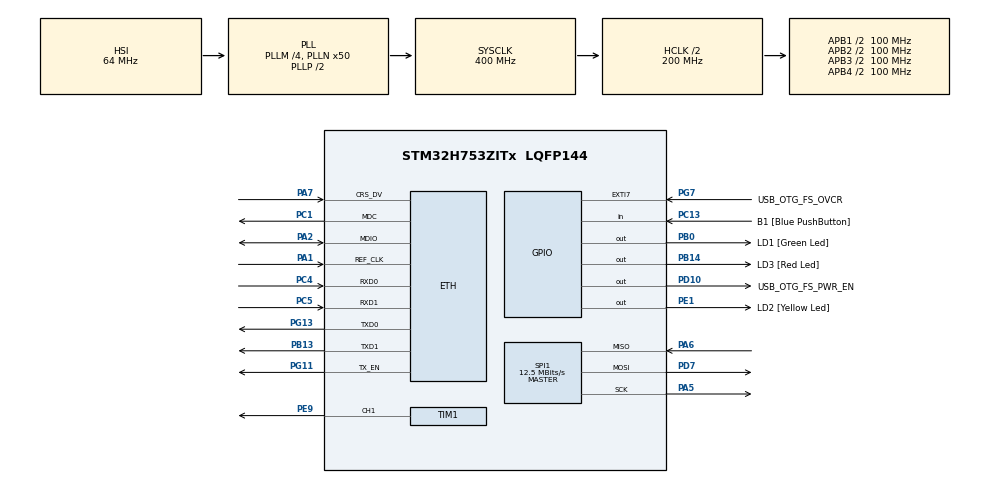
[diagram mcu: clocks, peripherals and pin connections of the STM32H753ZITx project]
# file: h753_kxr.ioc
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CORTEX_M7.AccessPermission-Cortex_Memory_Protection_Unit_Region1_Settings=MPU_REGION_FULL_ACCESS
CORTEX_M7.AccessPermission-Cortex_Memory_Protection_Unit_Region2_Settings=MPU_REGION_FULL_ACCESS
CORTEX_M7.BaseAddress-Cortex_Memory_Protection_Unit_Region1_Settings=0x30020000
CORTEX_M7.BaseAddress-Cortex_Memory_Protection_Unit_Region2_Settings=0x30000000
CORTEX_M7.CPU_DCache=Enabled
CORTEX_M7.CPU_ICache=Enabled
CORTEX_M7.DisableExec-Cortex_Memory_Protection_Unit_Region0_Settings=MPU_INSTRUCTION_ACCESS_DISABLE
CORTEX_M7.DisableExec-Cortex_Memory_Protection_Unit_Region1_Settings=MPU_INSTRUCTION_ACCESS_DISABLE
CORTEX_M7.DisableExec-Cortex_Memory_Protection_Unit_Region2_Settings=MPU_INSTRUCTION_ACCESS_DISABLE
CORTEX_M7.Enable-Cortex_Memory_Protection_Unit_Region0_Settings=MPU_REGION_ENABLE
CORTEX_M7.Enable-Cortex_Memory_Protection_Unit_Region1_Settings=MPU_REGION_ENABLE
CORTEX_M7.Enable-Cortex_Memory_Protection_Unit_Region2_Settings=MPU_REGION_ENABLE
CORTEX_M7.IsBufferable-Cortex_Memory_Protection_Unit_Region2_Settings=MPU_ACCESS_BUFFERABLE
CORTEX_M7.IsCacheable-Cortex_Memory_Protection_Unit_Region2_Settings=MPU_ACCESS_NOT_CACHEABLE
CORTEX_M7.IsShareable-Cortex_Memory_Protection_Unit_Region0_Settings=MPU_ACCESS_SHAREABLE
CORTEX_M7.IsShareable-Cortex_Memory_Protection_Unit_Region2_Settings=MPU_ACCESS_SHAREABLE
CORTEX_M7.MPU_Control=MPU_PRIVILEGED_DEFAULT
CORTEX_M7.Size-Cortex_Memory_Protection_Unit_Region0_Settings=MPU_REGION_SIZE_4GB
CORTEX_M7.Size-Cortex_Memory_Protection_Unit_Region1_Settings=MPU_REGION_SIZE_128KB
CORTEX_M7.Size-Cortex_Memory_Protection_Unit_Region2_Settings=MPU_REGION_SIZE_256B
CORTEX_M7.SubRegionDisable-Cortex_Memory_Protection_Unit_Region0_Settings=0x87
CORTEX_M7.TypeExtField-Cortex_Memory_Protection_Unit_Region1_Settings=MPU_TEX_LEVEL1
Dma.Request0=SPI1_RX
Dma.Request1=SPI1_TX
Dma.SPI1_RX.0.Direction=DMA_PERIPH_TO_MEMORY
Dma.SPI1_RX.0.EventEnable=DISABLE
Dma.SPI1_RX.0.FIFOMode=DMA_FIFOMODE_DISABLE
Dma.SPI1_RX.0.Instance=DMA1_Stream0
Dma.SPI1_RX.0.MemDataAlignment=DMA_MDATAALIGN_BYTE
Dma.SPI1_RX.0.MemInc=DMA_MINC_ENABLE
Dma.SPI1_RX.0.Mode=DMA_CIRCULAR
Dma.SPI1_RX.0.PeriphDataAlignment=DMA_PDATAALIGN_BYTE
Dma.SPI1_RX.0.PeriphInc=DMA_PINC_DISABLE
Dma.SPI1_RX.0.Polarity=HAL_DMAMUX_REQ_GEN_RISING
Dma.SPI1_RX.0.Priority=DMA_PRIORITY_HIGH
Dma.SPI1_RX.0.RequestNumber=1
Dma.SPI1_RX.0.SignalID=NONE
Dma.SPI1_RX.0.SyncEnable=DISABLE
Dma.SPI1_RX.0.SyncPolarity=HAL_DMAMUX_SYNC_NO_EVENT
Dma.SPI1_RX.0.SyncRequestNumber=1
Dma.SPI1_RX.0.SyncSignalID=NONE
Dma.SPI1_TX.1.Direction=DMA_MEMORY_TO_PERIPH
Dma.SPI1_TX.1.EventEnable=DISABLE
Dma.SPI1_TX.1.FIFOMode=DMA_FIFOMODE_DISABLE
Dma.SPI1_TX.1.Instance=DMA1_Stream1
Dma.SPI1_TX.1.MemDataAlignment=DMA_MDATAALIGN_BYTE
Dma.SPI1_TX.1.MemInc=DMA_MINC_ENABLE
Dma.SPI1_TX.1.Mode=DMA_CIRCULAR
Dma.SPI1_TX.1.PeriphDataAlignment=DMA_PDATAALIGN_BYTE
Dma.SPI1_TX.1.PeriphInc=DMA_PINC_DISABLE
Dma.SPI1_TX.1.Polarity=HAL_DMAMUX_REQ_GEN_RISING
Dma.SPI1_TX.1.Priority=DMA_PRIORITY_LOW
Dma.SPI1_TX.1.RequestNumber=1
Dma.SPI1_TX.1.SignalID=NONE
Dma.SPI1_TX.1.SyncEnable=DISABLE
Dma.SPI1_TX.1.SyncPolarity=HAL_DMAMUX_SYNC_NO_EVENT
Dma.SPI1_TX.1.SyncRequestNumber=1
Dma.SPI1_TX.1.SyncSignalID=NONE
ETH.ETH_RX_DESC_CNT=4
ETH.ETH_TX_DESC_CNT=4
ETH.MediaInterface=HAL_ETH_RMII_MODE
ETH.RxDescAddress=0x30000000
ETH.TxDescAddress=0x30000080
FREERTOS.Tasks01=defaultTask,0,512,StartDefaultTask,Default,NULL,Dynamic,NULL,NULL
LWIP.BSP.number=1
LWIP.GATEWAY_ADDRESS=192.168.001.254
LWIP.IP_ADDRESS=192.168.001.010
LWIP.LWIP_DHCP=0
LWIP.LWIP_RAM_HEAP_POINTER=0x30020000
LWIP.MEM_SIZE=131048
LWIP.NETMASK_ADDRESS=255.255.255.000
LWIP.TCP_MSS=1460
LWIP.TCP_SND_BUF=5840
LWIP.TCP_SND_QUEUELEN=16
LWIP.Version=v2.1.2_Cube
LWIP0.BSP.STBoard=false
LWIP0.BSP.api=BSP_COMPONENT_DRIVER
LWIP0.BSP.component=LAN8742
LWIP0.BSP.instance=LAN8742
LWIP0.BSP.name=Driver_PHY
LWIP0.BSP.semaphore=S_LAN8742
LWIP0.BSP.solution=LAN8742
Mcu.Family=STM32H7
Mcu.Name=STM32H753ZITx
Mcu.Package=LQFP144
NVIC.DMA1_Stream0_IRQn=true\:5\:0\:false\:false\:true\:true\:false\:true\:true
NVIC.DMA1_Stream1_IRQn=true\:5\:0\:false\:false\:true\:true\:false\:true\:true
NVIC.ETH_IRQn=true\:5\:0\:false\:false\:true\:true\:true\:true\:true
NVIC.PriorityGroup=NVIC_PRIORITYGROUP_4
NVIC.SPI1_IRQn=true\:5\:0\:false\:false\:true\:true\:false\:true\:true
NVIC.TIM6_DAC_IRQn=true\:15\:0\:false\:false\:true\:false\:false\:true\:true
NVIC.TimeBase=TIM6_DAC_IRQn
NVIC.TimeBaseIP=TIM6
PA1.GPIO_Speed=GPIO_SPEED_FREQ_VERY_HIGH
PA1.Mode=RMII
PA1.Signal=ETH_REF_CLK
PA11.Signal=USB_OTG_FS_DM
PA12.Signal=USB_OTG_FS_DP
PA2.GPIO_Speed=GPIO_SPEED_FREQ_VERY_HIGH
PA2.Mode=RMII
PA2.Signal=ETH_MDIO
PA5.GPIO_Speed=GPIO_SPEED_FREQ_VERY_HIGH
PA5.Mode=Full_Duplex_Master
PA5.Signal=SPI1_SCK
PA6.GPIO_Speed=GPIO_SPEED_FREQ_VERY_HIGH
PA6.Mode=Full_Duplex_Master
PA6.Signal=SPI1_MISO
PA7.GPIO_Speed=GPIO_SPEED_FREQ_VERY_HIGH
PA7.Mode=RMII
PA7.Signal=ETH_CRS_DV
PA8.Signal=USB_OTG_FS_SOF
PA9.Signal=USB_OTG_FS_VBUS
PB0.GPIO_Label=LD1 [Green Led]
PB0.Signal=GPIO_Output
PB13.GPIO_Speed=GPIO_SPEED_FREQ_VERY_HIGH
PB13.Mode=RMII
PB13.Signal=ETH_TXD1
PB14.GPIO_Label=LD3 [Red Led]
PB14.Signal=GPIO_Output
PC1.GPIO_Speed=GPIO_SPEED_FREQ_VERY_HIGH
PC1.Mode=RMII
PC1.Signal=ETH_MDC
PC13.GPIO_Label=B1 [Blue PushButton]
PC13.Signal=GPIO_Input
PC14-OSC32_IN\ (OSC32_IN).Signal=RCC_OSC32_IN
PC15-OSC32_OUT\ (OSC32_OUT).Signal=RCC_OSC32_OUT
PC4.GPIO_Speed=GPIO_SPEED_FREQ_VERY_HIGH
PC4.Mode=RMII
PC4.Signal=ETH_RXD0
PC5.GPIO_Speed=GPIO_SPEED_FREQ_VERY_HIGH
PC5.Mode=RMII
PC5.Signal=ETH_RXD1
PD10.GPIO_Label=USB_OTG_FS_PWR_EN
PD10.Signal=GPIO_Output
PD7.GPIO_Speed=GPIO_SPEED_FREQ_VERY_HIGH
PD7.Mode=Full_Duplex_Master
PD7.Signal=SPI1_MOSI
PD8.GPIO_Label=STLINK_RX
PD8.Signal=USART3_TX
PD9.GPIO_Label=STLINK_TX
PD9.Signal=USART3_RX
PE1.GPIO_Label=LD2 [Yellow Led]
PE1.Signal=GPIO_Output
PE9.GPIO_Speed=GPIO_SPEED_FREQ_VERY_HIGH
PE9.Signal=S_TIM1_CH1
PG11.GPIO_Speed=GPIO_SPEED_FREQ_VERY_HIGH
PG11.Mode=RMII
PG11.Signal=ETH_TX_EN
PG13.GPIO_Speed=GPIO_SPEED_FREQ_VERY_HIGH
PG13.Mode=RMII
PG13.Signal=ETH_TXD0
PG7.GPIO_Label=USB_OTG_FS_OVCR
PG7.Signal=GPXTI7
PH0-OSC_IN\ (PH0).Mode=HSE-External-Clock-Source
PH0-OSC_IN\ (PH0).Signal=RCC_OSC_IN
PH1-OSC_OUT\ (PH1).Signal=RCC_OSC_OUT
ProjectManager.HeapSize=0x200
ProjectManager.StackSize=0x400
ProjectManager.TargetToolchain=STM32CubeIDE
RCC.ADCFreq_Value=129000000
RCC.APB1Freq_Value=100000000
RCC.APB2Freq_Value=100000000
RCC.APB3Freq_Value=100000000
RCC.APB4Freq_Value=100000000
RCC.CortexFreq_Value=400000000
RCC.D1PPRE=RCC_APB3_DIV2
RCC.D2PPRE1=RCC_APB1_DIV2
RCC.D2PPRE2=RCC_APB2_DIV2
RCC.D3PPRE=RCC_APB4_DIV2
RCC.DIVM1=4
RCC.DIVN1=50
RCC.DIVQ1=4
RCC.HCLKFreq_Value=200000000
RCC.HPRE=RCC_HCLK_DIV2
RCC.HSE_VALUE=8000000
RCC.PLL2FRACN=0
RCC.PLL3FRACN=0
RCC.PLLFRACN=0
RCC.PWR_Regulator_Voltage_Scale=PWR_REGULATOR_VOLTAGE_SCALE1
RCC.SYSCLKFreq_VALUE=400000000
RCC.SYSCLKSource=RCC_SYSCLKSOURCE_PLLCLK
RCC.USBFreq_Value=200000000
SH.S_TIM1_CH1.0=TIM1_CH1,PWM Generation1 CH1
SPI1.BaudRatePrescaler=SPI_BAUDRATEPRESCALER_16
SPI1.CalculateBaudRate=12.5 MBits/s
SPI1.DataSize=SPI_DATASIZE_8BIT
SPI1.Direction=SPI_DIRECTION_2LINES
SPI1.Mode=SPI_MODE_MASTER
SPI1.VirtualType=VM_MASTER
TIM1.Channel-PWM\ Generation1\ CH1=TIM_CHANNEL_1
TIM1.Period=1
TIM1.Prescaler=12
VP_FREERTOS_VS_CMSIS_V1.Mode=CMSIS_V1
VP_LWIP_VS_Enabled.Mode=Enabled
VP_SYS_VS_tim6.Mode=TIM6
VP_TIM1_VS_ClockSourceINT.Mode=Internal
board=NUCLEO-H753ZI

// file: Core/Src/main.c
/* USER CODE BEGIN Header */
/**
  ******************************************************************************
  * @file           : main.c
  * @brief          : Main program body
  ******************************************************************************
  * @attention
  *
  * Copyright (c) 2024 STMicroelectronics.
  * All rights reserved.
  *
  * This software is licensed under terms that can be found in the LICENSE file
  * in the root directory of this software component.
  * If no LICENSE file comes with this software, it is provided AS-IS.
  *
  ******************************************************************************
  */
/* USER CODE END Header */
#include "main.h"
#include "cmsis_os.h"
#include "lwip.h"

/* USER CODE BEGIN Includes */
#include "lwip/udp.h"
#include <string.h>
#include "tcp.h"
#include "udp.h"
/* USER CODE END Includes */

SPI_HandleTypeDef hspi1;
DMA_HandleTypeDef hdma_spi1_rx;
DMA_HandleTypeDef hdma_spi1_tx;

TIM_HandleTypeDef htim1;

osThreadId defaultTaskHandle;

void SystemClock_Config(void);
static void MPU_Config(void);
static void MX_GPIO_Init(void);
static void MX_DMA_Init(void);
static void MX_SPI1_Init(void);
static void MX_TIM1_Init(void);
void StartDefaultTask(void const * argument);

/* USER CODE BEGIN 0 */
uint8_t txBufferDMA[4] = {0x80, 0, 0, 0};
uint8_t rxBufferDMA[4];
uint8_t complete;
uint8_t error;

void HAL_SPI_TxRxCpltCallback(SPI_HandleTypeDef *hspi) {
	ad7771_callback(&hspi1, txBufferDMA, rxBufferDMA);
}

void HAL_SPI_ErrorCallback(SPI_HandleTypeDef *hspi) {
	error = 1;
}
/* USER CODE END 0 */

int main(void)
{

  /* MPU Configuration--------------------------------------------------------*/
  MPU_Config();

  /* Enable the CPU Cache */

  /* Enable I-Cache---------------------------------------------------------*/
  SCB_EnableICache();

  /* Enable D-Cache---------------------------------------------------------*/
  SCB_EnableDCache();

  /* MCU Configuration--------------------------------------------------------*/

  /* Reset of all peripherals, Initializes the Flash interface and the Systick. */
  HAL_Init();

  /* Configure the system clock */
  SystemClock_Config();

  /* Initialize all configured peripherals */
  MX_GPIO_Init();
  MX_DMA_Init();
  MX_SPI1_Init();
  MX_TIM1_Init();
  /* USER CODE BEGIN 2 */
  // SPI init
  ad7771_init(&hspi1, txBufferDMA, rxBufferDMA);
  /* USER CODE END 2 */

  /* Create the thread(s) */
  /* definition and creation of defaultTask */
  osThreadDef(defaultTask, StartDefaultTask, osPriorityNormal, 0, 512);
  defaultTaskHandle = osThreadCreate(osThread(defaultTask), NULL);

  /* Start scheduler */
  osKernelStart();

  /* We should never get here as control is now taken by the scheduler */

  /* Infinite loop */
  while (1)
  {

  }
}

void SystemClock_Config(void)
{
  RCC_OscInitTypeDef RCC_OscInitStruct = {0};
  RCC_ClkInitTypeDef RCC_ClkInitStruct = {0};

  /** Supply configuration update enable
  */
  HAL_PWREx_ConfigSupply(PWR_LDO_SUPPLY);

  /** Configure the main internal regulator output voltage
  */
  __HAL_PWR_VOLTAGESCALING_CONFIG(PWR_REGULATOR_VOLTAGE_SCALE1);

  while(!__HAL_PWR_GET_FLAG(PWR_FLAG_VOSRDY)) {}

  /** Initializes the RCC Oscillators according to the specified parameters
  * in the RCC_OscInitTypeDef structure.
  */
  RCC_OscInitStruct.OscillatorType = RCC_OSCILLATORTYPE_HSI;
  RCC_OscInitStruct.HSIState = RCC_HSI_DIV1;
  RCC_OscInitStruct.HSICalibrationValue = RCC_HSICALIBRATION_DEFAULT;
  RCC_OscInitStruct.PLL.PLLState = RCC_PLL_ON;
  RCC_OscInitStruct.PLL.PLLSource = RCC_PLLSOURCE_HSI;
  RCC_OscInitStruct.PLL.PLLM = 4;
  RCC_OscInitStruct.PLL.PLLN = 50;
  RCC_OscInitStruct.PLL.PLLP = 2;
  RCC_OscInitStruct.PLL.PLLQ = 4;
  RCC_OscInitStruct.PLL.PLLR = 2;
  RCC_OscInitStruct.PLL.PLLRGE = RCC_PLL1VCIRANGE_3;
  RCC_OscInitStruct.PLL.PLLVCOSEL = RCC_PLL1VCOWIDE;
  RCC_OscInitStruct.PLL.PLLFRACN = 0;
  if (HAL_RCC_OscConfig(&RCC_OscInitStruct) != HAL_OK)
  {
    Error_Handler();
  }

  /** Initializes the CPU, AHB and APB buses clocks
  */
  RCC_ClkInitStruct.ClockType = RCC_CLOCKTYPE_HCLK|RCC_CLOCKTYPE_SYSCLK
                              |RCC_CLOCKTYPE_PCLK1|RCC_CLOCKTYPE_PCLK2
                              |RCC_CLOCKTYPE_D3PCLK1|RCC_CLOCKTYPE_D1PCLK1;
  RCC_ClkInitStruct.SYSCLKSource = RCC_SYSCLKSOURCE_PLLCLK;
  RCC_ClkInitStruct.SYSCLKDivider = RCC_SYSCLK_DIV1;
  RCC_ClkInitStruct.AHBCLKDivider = RCC_HCLK_DIV2;
  RCC_ClkInitStruct.APB3CLKDivider = RCC_APB3_DIV2;
  RCC_ClkInitStruct.APB1CLKDivider = RCC_APB1_DIV2;
  RCC_ClkInitStruct.APB2CLKDivider = RCC_APB2_DIV2;
  RCC_ClkInitStruct.APB4CLKDivider = RCC_APB4_DIV2;

  if (HAL_RCC_ClockConfig(&RCC_ClkInitStruct, FLASH_LATENCY_2) != HAL_OK)
  {
    Error_Handler();
  }
}

static void MX_SPI1_Init(void)
{

  /* SPI1 parameter configuration*/
  hspi1.Instance = SPI1;
  hspi1.Init.Mode = SPI_MODE_MASTER;
  hspi1.Init.Direction = SPI_DIRECTION_2LINES;
  hspi1.Init.DataSize = SPI_DATASIZE_8BIT;
  hspi1.Init.CLKPolarity = SPI_POLARITY_LOW;
  hspi1.Init.CLKPhase = SPI_PHASE_1EDGE;
  hspi1.Init.NSS = SPI_NSS_SOFT;
  hspi1.Init.BaudRatePrescaler = SPI_BAUDRATEPRESCALER_16;
  hspi1.Init.FirstBit = SPI_FIRSTBIT_MSB;
  hspi1.Init.TIMode = SPI_TIMODE_DISABLE;
  hspi1.Init.CRCCalculation = SPI_CRCCALCULATION_DISABLE;
  hspi1.Init.CRCPolynomial = 0x0;
  hspi1.Init.NSSPMode = SPI_NSS_PULSE_ENABLE;
  hspi1.Init.NSSPolarity = SPI_NSS_POLARITY_LOW;
  hspi1.Init.FifoThreshold = SPI_FIFO_THRESHOLD_01DATA;
  hspi1.Init.TxCRCInitializationPattern = SPI_CRC_INITIALIZATION_ALL_ZERO_PATTERN;
  hspi1.Init.RxCRCInitializationPattern = SPI_CRC_INITIALIZATION_ALL_ZERO_PATTERN;
  hspi1.Init.MasterSSIdleness = SPI_MASTER_SS_IDLENESS_00CYCLE;
  hspi1.Init.MasterInterDataIdleness = SPI_MASTER_INTERDATA_IDLENESS_00CYCLE;
  hspi1.Init.MasterReceiverAutoSusp = SPI_MASTER_RX_AUTOSUSP_DISABLE;
  hspi1.Init.MasterKeepIOState = SPI_MASTER_KEEP_IO_STATE_DISABLE;
  hspi1.Init.IOSwap = SPI_IO_SWAP_DISABLE;
  if (HAL_SPI_Init(&hspi1) != HAL_OK)
  {
    Error_Handler();
  }

}

static void MX_TIM1_Init(void)
{

  TIM_ClockConfigTypeDef sClockSourceConfig = {0};
  TIM_MasterConfigTypeDef sMasterConfig = {0};
  TIM_OC_InitTypeDef sConfigOC = {0};
  TIM_BreakDeadTimeConfigTypeDef sBreakDeadTimeConfig = {0};

  htim1.Instance = TIM1;
  htim1.Init.Prescaler = 12;
  htim1.Init.CounterMode = TIM_COUNTERMODE_UP;
  htim1.Init.Period = 1;
  htim1.Init.ClockDivision = TIM_CLOCKDIVISION_DIV1;
  htim1.Init.RepetitionCounter = 0;
  htim1.Init.AutoReloadPreload = TIM_AUTORELOAD_PRELOAD_DISABLE;
  if (HAL_TIM_Base_Init(&htim1) != HAL_OK)
  {
    Error_Handler();
  }
  sClockSourceConfig.ClockSource = TIM_CLOCKSOURCE_INTERNAL;
  if (HAL_TIM_ConfigClockSource(&htim1, &sClockSourceConfig) != HAL_OK)
  {
    Error_Handler();
  }
  if (HAL_TIM_PWM_Init(&htim1) != HAL_OK)
  {
    Error_Handler();
  }
  sMasterConfig.MasterOutputTrigger = TIM_TRGO_RESET;
  sMasterConfig.MasterOutputTrigger2 = TIM_TRGO2_RESET;
  sMasterConfig.MasterSlaveMode = TIM_MASTERSLAVEMODE_DISABLE;
  if (HAL_TIMEx_MasterConfigSynchronization(&htim1, &sMasterConfig) != HAL_OK)
  {
    Error_Handler();
  }
  sConfigOC.OCMode = TIM_OCMODE_PWM1;
  sConfigOC.Pulse = 0;
  sConfigOC.OCPolarity = TIM_OCPOLARITY_HIGH;
  sConfigOC.OCNPolarity = TIM_OCNPOLARITY_HIGH;
  sConfigOC.OCFastMode = TIM_OCFAST_DISABLE;
  sConfigOC.OCIdleState = TIM_OCIDLESTATE_RESET;
  sConfigOC.OCNIdleState = TIM_OCNIDLESTATE_RESET;
  if (HAL_TIM_PWM_ConfigChannel(&htim1, &sConfigOC, TIM_CHANNEL_1) != HAL_OK)
  {
    Error_Handler();
  }
  sBreakDeadTimeConfig.OffStateRunMode = TIM_OSSR_DISABLE;
  sBreakDeadTimeConfig.OffStateIDLEMode = TIM_OSSI_DISABLE;
  sBreakDeadTimeConfig.LockLevel = TIM_LOCKLEVEL_OFF;
  sBreakDeadTimeConfig.DeadTime = 0;
  sBreakDeadTimeConfig.BreakState = TIM_BREAK_DISABLE;
  sBreakDeadTimeConfig.BreakPolarity = TIM_BREAKPOLARITY_HIGH;
  sBreakDeadTimeConfig.BreakFilter = 0;
  sBreakDeadTimeConfig.Break2State = TIM_BREAK2_DISABLE;
  sBreakDeadTimeConfig.Break2Polarity = TIM_BREAK2POLARITY_HIGH;
  sBreakDeadTimeConfig.Break2Filter = 0;
  sBreakDeadTimeConfig.AutomaticOutput = TIM_AUTOMATICOUTPUT_DISABLE;
  if (HAL_TIMEx_ConfigBreakDeadTime(&htim1, &sBreakDeadTimeConfig) != HAL_OK)
  {
    Error_Handler();
  }
  HAL_TIM_MspPostInit(&htim1);

}

static void MX_DMA_Init(void)
{

  /* DMA controller clock enable */
  __HAL_RCC_DMA1_CLK_ENABLE();

  /* DMA interrupt init */
  /* DMA1_Stream0_IRQn interrupt configuration */
  HAL_NVIC_SetPriority(DMA1_Stream0_IRQn, 5, 0);
  HAL_NVIC_EnableIRQ(DMA1_Stream0_IRQn);
  /* DMA1_Stream1_IRQn interrupt configuration */
  HAL_NVIC_SetPriority(DMA1_Stream1_IRQn, 5, 0);
  HAL_NVIC_EnableIRQ(DMA1_Stream1_IRQn);

}

static void MX_GPIO_Init(void)
{
  GPIO_InitTypeDef GPIO_InitStruct = {0};

  /* GPIO Ports Clock Enable */
  __HAL_RCC_GPIOC_CLK_ENABLE();
  __HAL_RCC_GPIOH_CLK_ENABLE();
  __HAL_RCC_GPIOA_CLK_ENABLE();
  __HAL_RCC_GPIOB_CLK_ENABLE();
  __HAL_RCC_GPIOE_CLK_ENABLE();
  __HAL_RCC_GPIOD_CLK_ENABLE();
  __HAL_RCC_GPIOG_CLK_ENABLE();

  /*Configure GPIO pin Output Level */
  HAL_GPIO_WritePin(GPIOB, LD1_Pin|LD3_Pin, GPIO_PIN_RESET);

  /*Configure GPIO pin Output Level */
  HAL_GPIO_WritePin(USB_OTG_FS_PWR_EN_GPIO_Port, USB_OTG_FS_PWR_EN_Pin, GPIO_PIN_RESET);

  /*Configure GPIO pin Output Level */
  HAL_GPIO_WritePin(LD2_GPIO_Port, LD2_Pin, GPIO_PIN_RESET);

  /*Configure GPIO pin : B1_Pin */
  GPIO_InitStruct.Pin = B1_Pin;
  GPIO_InitStruct.Mode = GPIO_MODE_INPUT;
  GPIO_InitStruct.Pull = GPIO_NOPULL;
  HAL_GPIO_Init(B1_GPIO_Port, &GPIO_InitStruct);

  /*Configure GPIO pins : LD1_Pin LD3_Pin */
  GPIO_InitStruct.Pin = LD1_Pin|LD3_Pin;
  GPIO_InitStruct.Mode = GPIO_MODE_OUTPUT_PP;
  GPIO_InitStruct.Pull = GPIO_NOPULL;
  GPIO_InitStruct.Speed = GPIO_SPEED_FREQ_LOW;
  HAL_GPIO_Init(GPIOB, &GPIO_InitStruct);

  /*Configure GPIO pins : STLINK_RX_Pin STLINK_TX_Pin */
  GPIO_InitStruct.Pin = STLINK_RX_Pin|STLINK_TX_Pin;
  GPIO_InitStruct.Mode = GPIO_MODE_AF_PP;
  GPIO_InitStruct.Pull = GPIO_NOPULL;
  GPIO_InitStruct.Speed = GPIO_SPEED_FREQ_LOW;
  GPIO_InitStruct.Alternate = GPIO_AF7_USART3;
  HAL_GPIO_Init(GPIOD, &GPIO_InitStruct);

  /*Configure GPIO pin : USB_OTG_FS_PWR_EN_Pin */
  GPIO_InitStruct.Pin = USB_OTG_FS_PWR_EN_Pin;
  GPIO_InitStruct.Mode = GPIO_MODE_OUTPUT_PP;
  GPIO_InitStruct.Pull = GPIO_NOPULL;
  GPIO_InitStruct.Speed = GPIO_SPEED_FREQ_LOW;
  HAL_GPIO_Init(USB_OTG_FS_PWR_EN_GPIO_Port, &GPIO_InitStruct);

  /*Configure GPIO pin : USB_OTG_FS_OVCR_Pin */
  GPIO_InitStruct.Pin = USB_OTG_FS_OVCR_Pin;
  GPIO_InitStruct.Mode = GPIO_MODE_IT_RISING;
  GPIO_InitStruct.Pull = GPIO_NOPULL;
  HAL_GPIO_Init(USB_OTG_FS_OVCR_GPIO_Port, &GPIO_InitStruct);

  /*Configure GPIO pins : PA8 PA11 PA12 */
  GPIO_InitStruct.Pin = GPIO_PIN_8|GPIO_PIN_11|GPIO_PIN_12;
  GPIO_InitStruct.Mode = GPIO_MODE_AF_PP;
  GPIO_InitStruct.Pull = GPIO_NOPULL;
  GPIO_InitStruct.Speed = GPIO_SPEED_FREQ_LOW;
  GPIO_InitStruct.Alternate = GPIO_AF10_OTG1_FS;
  HAL_GPIO_Init(GPIOA, &GPIO_InitStruct);

  /*Configure GPIO pin : LD2_Pin */
  GPIO_InitStruct.Pin = LD2_Pin;
  GPIO_InitStruct.Mode = GPIO_MODE_OUTPUT_PP;
  GPIO_InitStruct.Pull = GPIO_NOPULL;
  GPIO_InitStruct.Speed = GPIO_SPEED_FREQ_LOW;
  HAL_GPIO_Init(LD2_GPIO_Port, &GPIO_InitStruct);

}

void StartDefaultTask(void const * argument)
{
  /* init code for LWIP */
  MX_LWIP_Init();
  /* USER CODE BEGIN 5 */
  /* USER CODE BEGIN 5 */
  udp_client_init();
  tcpserver_init();

  for(;;) { osDelay(1); }
  /* USER CODE END 5 */
}

 /* MPU Configuration */

void MPU_Config(void)
{
  MPU_Region_InitTypeDef MPU_InitStruct = {0};

  /* Disables the MPU */
  HAL_MPU_Disable();

  /** Initializes and configures the Region and the memory to be protected
  */
  MPU_InitStruct.Enable = MPU_REGION_ENABLE;
  MPU_InitStruct.Number = MPU_REGION_NUMBER0;
  MPU_InitStruct.BaseAddress = 0x0;
  MPU_InitStruct.Size = MPU_REGION_SIZE_4GB;
  MPU_InitStruct.SubRegionDisable = 0x87;
  MPU_InitStruct.TypeExtField = MPU_TEX_LEVEL0;
  MPU_InitStruct.AccessPermission = MPU_REGION_NO_ACCESS;
  MPU_InitStruct.DisableExec = MPU_INSTRUCTION_ACCESS_DISABLE;
  MPU_InitStruct.IsShareable = MPU_ACCESS_SHAREABLE;
  MPU_InitStruct.IsCacheable = MPU_ACCESS_NOT_CACHEABLE;
  MPU_InitStruct.IsBufferable = MPU_ACCESS_NOT_BUFFERABLE;

  HAL_MPU_ConfigRegion(&MPU_InitStruct);

  /** Initializes and configures the Region and the memory to be protected
  */
  MPU_InitStruct.Number = MPU_REGION_NUMBER1;
  MPU_InitStruct.BaseAddress = 0x30020000;
  MPU_InitStruct.Size = MPU_REGION_SIZE_128KB;
  MPU_InitStruct.SubRegionDisable = 0x0;
  MPU_InitStruct.TypeExtField = MPU_TEX_LEVEL1;
  MPU_InitStruct.AccessPermission = MPU_REGION_FULL_ACCESS;
  MPU_InitStruct.IsShareable = MPU_ACCESS_NOT_SHAREABLE;

  HAL_MPU_ConfigRegion(&MPU_InitStruct);

  /** Initializes and configures the Region and the memory to be protected
  */
  MPU_InitStruct.Number = MPU_REGION_NUMBER2;
  MPU_InitStruct.BaseAddress = 0x30000000;
  MPU_InitStruct.Size = MPU_REGION_SIZE_256B;
  MPU_InitStruct.TypeExtField = MPU_TEX_LEVEL0;
  MPU_InitStruct.IsShareable = MPU_ACCESS_SHAREABLE;
  MPU_InitStruct.IsBufferable = MPU_ACCESS_BUFFERABLE;

  HAL_MPU_ConfigRegion(&MPU_InitStruct);
  /* Enables the MPU */
  HAL_MPU_Enable(MPU_PRIVILEGED_DEFAULT);

}

void HAL_TIM_PeriodElapsedCallback(TIM_HandleTypeDef *htim)
{
  if (htim->Instance == TIM6) {
    HAL_IncTick();
  }
}

void Error_Handler(void)
{
  __disable_irq();
  while (1)
  {
  }
}
